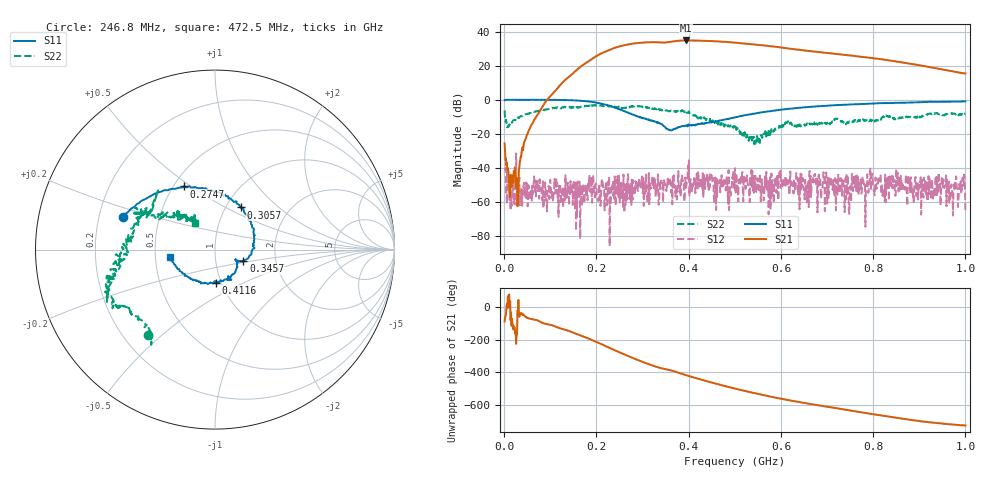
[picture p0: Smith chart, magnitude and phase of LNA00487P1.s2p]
! Created with skrf 1.9.0 (http://scikit-rf.org).
# Hz S RI R 50.0
!freq ReS11 ImS11 ReS21 ImS21 ReS12 ImS12 ReS22 ImS22
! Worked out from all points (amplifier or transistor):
!   1001 points, 1 MHz to 1 GHz, reference 50 ohm
!   highest |S21| = 34.9 dB at 394.6 MHz (marker M1)
!   |S21| within 3 dB of that: 256.9 MHz to 565.6 MHz (308.7 MHz wide, 75.1 % of centre)
!   unconditionally stable (mu >= 1): 163.1 MHz to 181.6 MHz; 248.9 MHz to 398.3 MHz; 400.9 MHz to end of sweep (the widest 3 of 46)
!   at 166.8 MHz: K = 1.24, MAG = 33.5 dB, |S12| = -53.3 dB
!   at 500.5 MHz: K = 1.18, MAG = 34.4 dB, |S12| = -40.2 dB
!   at 1 GHz: K = 23.65, MAG = 23.6 dB, |S12| = -65.1 dB
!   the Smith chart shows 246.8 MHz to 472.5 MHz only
!   S11 on the Smith chart (normalised r, x): 246.8 MHz: 0.30, +0.16; 274.7 MHz: 0.56, +0.47; 305.7 MHz: 1.17, +0.60; 345.7 MHz: 1.36, -0.18; 411.6 MHz: 0.95, -0.36; 472.5 MHz: 0.60, -0.06
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1000000  0.9814 -0.000413  1.22e-05 -0.0518  -0.00654 0.00556  0.366 0.3217
1.08892e8  0.5266 -0.8467  -0.8157 -1.52  0.00435 -0.00193  0.4228 -0.3759
1.67833e8  -0.2212 -0.9065  -9.885 -0.5238  0.00136 0.0028  0.0244 -0.635
2.11789e8  -0.6781 -0.3588  -15.32 17.92  0.00416 0.00232  -0.2245 -0.6263
2.29771e8  -0.6553 -0.0568  -8.972 28.77  0.00134 0.00014  -0.2827 -0.5862
2.46754e8  -0.5143 0.1814  2.826 36.31  -0.00064 -0.00391  -0.3706 -0.4736
2.74726e8  -0.1734 0.352  27.44 34.45  -0.000173 0.00362  -0.5353 -0.323
3.05695e8  0.1435 0.2347  46.37 14.21  0.000928 0.00145  -0.5633 -0.1634
3.34666e8  0.2091 0.00145  48.18 -9.439  -0.000755 -0.000313  -0.5323 -0.0336
3.45655e8  0.1579 -0.0642  45.68 -15.65  0.00212 0.00231  -0.5117 0.0326
3.7063e8  0.1241 -0.0677  43.31 -31.68  -0.00122 0.00231  -0.4289 0.166
3.94606e8  0.0811 -0.1542  29.24 -47.48  0.00235 0.00108  -0.3815 0.1903
4.11589e8  0.00631 -0.1844  16.43 -52.91  0.00309 0.00389  -0.2804 0.1904
4.39561e8  -0.1306 -0.1655  -5.024 -53.91  0.00266 0.0038  -0.1854 0.1933
4.72528e8  -0.2484 -0.044  -25.38 -44.32  0.0013 0.00341  -0.1134 0.1461
5.005e8  -0.2866 0.1062  -37.12 -30.86  0.00926 -0.00296  -0.0971 0.1032
5.4046e8  -0.2334 0.3128  -41.58 -9.899  0.0045 -0.000145  -0.0719 0.0235
5.88412e8  -0.0492 0.4864  -34.83 10.06  0.00309 -0.00249  -0.1185 -0.0635
6.67333e8  0.318 0.5388  -14.64 22.14  0.00149 -0.00421  -0.199 -0.0157
7.55245e8  0.6306 0.3765  2.276 19.59  0.000903 -0.00305  -0.2279 0.0322
8.34166e8  0.7882 0.1557  9.663 10.8  -0.000996 0.000413  -0.3289 0.012
1e9  0.8203 -0.3735  5.919 -0.6313  0.000293 0.000471  -0.2824 0.2842
